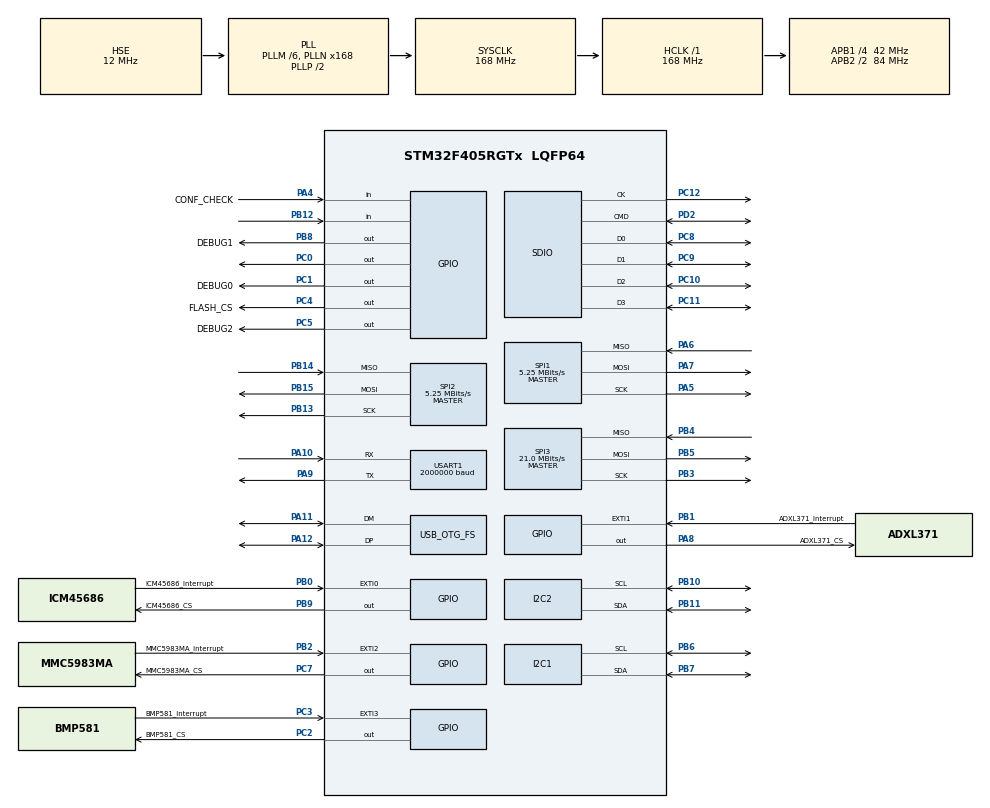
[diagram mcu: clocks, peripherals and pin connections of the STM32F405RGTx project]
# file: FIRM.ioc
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Dma.Request0=SDIO_RX
Dma.Request1=SDIO_TX
Dma.Request2=USART1_TX
Dma.SDIO_RX.0.Direction=DMA_PERIPH_TO_MEMORY
Dma.SDIO_RX.0.FIFOMode=DMA_FIFOMODE_ENABLE
Dma.SDIO_RX.0.FIFOThreshold=DMA_FIFO_THRESHOLD_FULL
Dma.SDIO_RX.0.Instance=DMA2_Stream3
Dma.SDIO_RX.0.MemBurst=DMA_MBURST_INC4
Dma.SDIO_RX.0.MemDataAlignment=DMA_MDATAALIGN_WORD
Dma.SDIO_RX.0.MemInc=DMA_MINC_ENABLE
Dma.SDIO_RX.0.Mode=DMA_PFCTRL
Dma.SDIO_RX.0.PeriphBurst=DMA_PBURST_INC4
Dma.SDIO_RX.0.PeriphDataAlignment=DMA_PDATAALIGN_WORD
Dma.SDIO_RX.0.PeriphInc=DMA_PINC_DISABLE
Dma.SDIO_RX.0.Priority=DMA_PRIORITY_LOW
Dma.SDIO_TX.1.Direction=DMA_MEMORY_TO_PERIPH
Dma.SDIO_TX.1.FIFOMode=DMA_FIFOMODE_ENABLE
Dma.SDIO_TX.1.FIFOThreshold=DMA_FIFO_THRESHOLD_FULL
Dma.SDIO_TX.1.Instance=DMA2_Stream6
Dma.SDIO_TX.1.MemBurst=DMA_MBURST_INC4
Dma.SDIO_TX.1.MemDataAlignment=DMA_MDATAALIGN_WORD
Dma.SDIO_TX.1.MemInc=DMA_MINC_ENABLE
Dma.SDIO_TX.1.Mode=DMA_PFCTRL
Dma.SDIO_TX.1.PeriphBurst=DMA_PBURST_INC4
Dma.SDIO_TX.1.PeriphDataAlignment=DMA_PDATAALIGN_WORD
Dma.SDIO_TX.1.PeriphInc=DMA_PINC_DISABLE
Dma.SDIO_TX.1.Priority=DMA_PRIORITY_LOW
Dma.USART1_TX.2.Direction=DMA_MEMORY_TO_PERIPH
Dma.USART1_TX.2.FIFOMode=DMA_FIFOMODE_DISABLE
Dma.USART1_TX.2.Instance=DMA2_Stream7
Dma.USART1_TX.2.MemDataAlignment=DMA_MDATAALIGN_BYTE
Dma.USART1_TX.2.MemInc=DMA_MINC_ENABLE
Dma.USART1_TX.2.Mode=DMA_NORMAL
Dma.USART1_TX.2.PeriphDataAlignment=DMA_PDATAALIGN_BYTE
Dma.USART1_TX.2.PeriphInc=DMA_PINC_DISABLE
Dma.USART1_TX.2.Priority=DMA_PRIORITY_LOW
FATFS.BSP.number=1
FATFS.USE_DMA_CODE_SD=1
FATFS._USE_EXPAND=1
FATFS._USE_FIND=1
FATFS0.BSP.STBoard=false
FATFS0.BSP.api=Unknown
FATFS0.BSP.instance=PB12
FATFS0.BSP.ip=GPIO
FATFS0.BSP.mode=Input
FATFS0.BSP.name=Detect_SDIO
FATFS0.BSP.solution=PB12
FREERTOS.Tasks01=defaultTask,49,512,StartDefaultTask,Default,NULL,Dynamic,NULL,NULL
FREERTOS.configCHECK_FOR_STACK_OVERFLOW=2
FREERTOS.configMINIMAL_STACK_SIZE=256
FREERTOS.configTOTAL_HEAP_SIZE=69632
I2C1.I2C_Mode=I2C_Fast
Mcu.Family=STM32F4
Mcu.Name=STM32F405RGTx
Mcu.Package=LQFP64
NVIC.DMA2_Stream3_IRQn=true\:5\:0\:false\:false\:true\:true\:false\:true\:true
NVIC.DMA2_Stream6_IRQn=true\:5\:0\:false\:false\:true\:true\:false\:true\:true
NVIC.DMA2_Stream7_IRQn=true\:5\:0\:false\:false\:true\:false\:true\:true\:true
NVIC.EXTI0_IRQn=true\:5\:0\:false\:false\:true\:true\:true\:true\:true
NVIC.EXTI1_IRQn=true\:5\:0\:false\:false\:true\:true\:true\:true\:true
NVIC.EXTI2_IRQn=true\:5\:0\:false\:false\:true\:true\:true\:true\:true
NVIC.EXTI3_IRQn=true\:5\:0\:false\:false\:true\:true\:true\:true\:true
NVIC.OTG_FS_IRQn=true\:5\:0\:false\:false\:true\:true\:false\:true\:true
NVIC.PriorityGroup=NVIC_PRIORITYGROUP_4
NVIC.SDIO_IRQn=true\:5\:0\:false\:false\:true\:true\:true\:true\:true
NVIC.SPI1_IRQn=true\:5\:0\:true\:false\:true\:true\:true\:true\:true
NVIC.SPI2_IRQn=true\:5\:0\:true\:false\:true\:true\:true\:true\:true
NVIC.TIM2_IRQn=true\:15\:0\:false\:false\:true\:false\:false\:true\:true
NVIC.TimeBase=TIM2_IRQn
NVIC.TimeBaseIP=TIM2
NVIC.USART1_IRQn=true\:5\:0\:false\:false\:true\:true\:true\:true\:true
PA10.Mode=Asynchronous
PA10.Signal=USART1_RX
PA11.Mode=Device_Only
PA11.Signal=USB_OTG_FS_DM
PA12.Mode=Device_Only
PA12.Signal=USB_OTG_FS_DP
PA13.Mode=Serial_Wire
PA13.Signal=SYS_JTMS-SWDIO
PA14.Mode=Serial_Wire
PA14.Signal=SYS_JTCK-SWCLK
PA4.GPIO_Label=CONF_CHECK
PA4.GPIO_PuPd=GPIO_PULLUP
PA4.Signal=GPIO_Input
PA5.GPIO_PuPd=GPIO_NOPULL
PA5.GPIO_Speed=GPIO_SPEED_FREQ_HIGH
PA5.Mode=Full_Duplex_Master
PA5.Signal=SPI1_SCK
PA6.GPIO_PuPd=GPIO_NOPULL
PA6.GPIO_Speed=GPIO_SPEED_FREQ_HIGH
PA6.Mode=Full_Duplex_Master
PA6.Signal=SPI1_MISO
PA7.GPIO_PuPd=GPIO_NOPULL
PA7.GPIO_Speed=GPIO_SPEED_FREQ_HIGH
PA7.Mode=Full_Duplex_Master
PA7.Signal=SPI1_MOSI
PA8.GPIO_Label=ADXL371_CS
PA8.Signal=GPIO_Output
PA9.Mode=Asynchronous
PA9.Signal=USART1_TX
PB0.GPIO_Label=ICM45686_Interrupt
PB0.GPIO_ModeDefaultEXTI=GPIO_MODE_IT_FALLING
PB0.Signal=GPXTI0
PB1.GPIO_Label=ADXL371_Interrupt
PB1.GPIO_ModeDefaultEXTI=GPIO_MODE_IT_FALLING
PB1.Signal=GPXTI1
PB10.Mode=I2C
PB10.Signal=I2C2_SCL
PB11.Mode=I2C
PB11.Signal=I2C2_SDA
PB12.Signal=GPIO_Input
PB13.GPIO_PuPd=GPIO_NOPULL
PB13.GPIO_Speed=GPIO_SPEED_FREQ_HIGH
PB13.Mode=Full_Duplex_Master
PB13.Signal=SPI2_SCK
PB14.GPIO_PuPd=GPIO_NOPULL
PB14.GPIO_Speed=GPIO_SPEED_FREQ_HIGH
PB14.Mode=Full_Duplex_Master
PB14.Signal=SPI2_MISO
PB15.GPIO_PuPd=GPIO_NOPULL
PB15.GPIO_Speed=GPIO_SPEED_FREQ_HIGH
PB15.Mode=Full_Duplex_Master
PB15.Signal=SPI2_MOSI
PB2.GPIO_Label=MMC5983MA_Interrupt
PB2.GPIO_ModeDefaultEXTI=GPIO_MODE_IT_RISING
PB2.GPIO_PuPd=GPIO_PULLDOWN
PB2.Signal=GPXTI2
PB3.Mode=Full_Duplex_Master
PB3.Signal=SPI3_SCK
PB4.Mode=Full_Duplex_Master
PB4.Signal=SPI3_MISO
PB5.Mode=Full_Duplex_Master
PB5.Signal=SPI3_MOSI
PB6.GPIO_Mode=GPIO_MODE_AF_OD
PB6.GPIO_Pu=GPIO_PULLUP
PB6.GPIO_Speed=GPIO_SPEED_FREQ_VERY_HIGH
PB6.Mode=I2C
PB6.Signal=I2C1_SCL
PB7.GPIO_Mode=GPIO_MODE_AF_OD
PB7.GPIO_Pu=GPIO_PULLUP
PB7.GPIO_Speed=GPIO_SPEED_FREQ_VERY_HIGH
PB7.Mode=I2C
PB7.Signal=I2C1_SDA
PB8.GPIO_Label=DEBUG1
PB8.Signal=GPIO_Output
PB9.GPIO_Label=ICM45686_CS
PB9.Signal=GPIO_Output
PC0.Signal=GPIO_Output
PC1.GPIO_Label=DEBUG0
PC1.Signal=GPIO_Output
PC10.GPIO_PuPd=GPIO_PULLUP
PC10.GPIO_Speed_High_Default=GPIO_SPEED_FREQ_HIGH
PC10.Mode=SD_4_bits_Wide_bus
PC10.Signal=SDIO_D2
PC11.GPIO_Speed_High_Default=GPIO_SPEED_FREQ_HIGH
PC11.Mode=SD_4_bits_Wide_bus
PC11.Signal=SDIO_D3
PC12.GPIO_Speed_High_Default=GPIO_SPEED_FREQ_HIGH
PC12.Mode=SD_4_bits_Wide_bus
PC12.Signal=SDIO_CK
PC2.GPIO_Label=BMP581_CS
PC2.GPIO_PuPd=GPIO_PULLUP
PC2.Signal=GPIO_Output
PC3.GPIO_Label=BMP581_Interrupt
PC3.GPIO_ModeDefaultEXTI=GPIO_MODE_IT_FALLING
PC3.GPIO_PuPd=GPIO_NOPULL
PC3.Signal=GPXTI3
PC4.GPIO_Label=FLASH_CS
PC4.Signal=GPIO_Output
PC5.GPIO_Label=DEBUG2
PC5.Signal=GPIO_Output
PC7.GPIO_Label=MMC5983MA_CS
PC7.GPIO_PuPd=GPIO_PULLUP
PC7.Signal=GPIO_Output
PC8.GPIO_PuPd=GPIO_PULLUP
PC8.GPIO_Speed_High_Default=GPIO_SPEED_FREQ_HIGH
PC8.Mode=SD_4_bits_Wide_bus
PC8.Signal=SDIO_D0
PC9.GPIO_PuPd=GPIO_PULLUP
PC9.GPIO_Speed_High_Default=GPIO_SPEED_FREQ_HIGH
PC9.Mode=SD_4_bits_Wide_bus
PC9.Signal=SDIO_D1
PD2.GPIO_PuPd=GPIO_PULLUP
PD2.GPIO_Speed_High_Default=GPIO_SPEED_FREQ_HIGH
PD2.Mode=SD_4_bits_Wide_bus
PD2.Signal=SDIO_CMD
PH0-OSC_IN.Mode=HSE-External-Oscillator
PH0-OSC_IN.Signal=RCC_OSC_IN
PH1-OSC_OUT.Mode=HSE-External-Oscillator
PH1-OSC_OUT.Signal=RCC_OSC_OUT
ProjectManager.HeapSize=0x400
ProjectManager.StackSize=0x800
ProjectManager.TargetToolchain=CMake
RCC.48MHZClocksFreq_Value=48000000
RCC.AHBFreq_Value=168000000
RCC.APB1CLKDivider=RCC_HCLK_DIV4
RCC.APB1Freq_Value=42000000
RCC.APB1TimFreq_Value=84000000
RCC.APB2CLKDivider=RCC_HCLK_DIV2
RCC.APB2Freq_Value=84000000
RCC.APB2TimFreq_Value=168000000
RCC.CortexFreq_Value=168000000
RCC.HCLKFreq_Value=168000000
RCC.HSE_VALUE=12000000
RCC.HSI_VALUE=16000000
RCC.LSE_VALUE=32768
RCC.PLLM=6
RCC.PLLN=168
RCC.PLLQ=7
RCC.SYSCLKFreq_VALUE=168000000
RCC.SYSCLKSource=RCC_SYSCLKSOURCE_PLLCLK
RCC.VCOOutputFreq_Value=336000000
SPI1.BaudRatePrescaler=SPI_BAUDRATEPRESCALER_16
SPI1.CalculateBaudRate=5.25 MBits/s
SPI1.Direction=SPI_DIRECTION_2LINES
SPI1.Mode=SPI_MODE_MASTER
SPI1.VirtualType=VM_MASTER
SPI2.BaudRatePrescaler=SPI_BAUDRATEPRESCALER_8
SPI2.CLKPolarity=SPI_POLARITY_LOW
SPI2.CalculateBaudRate=5.25 MBits/s
SPI2.Direction=SPI_DIRECTION_2LINES
SPI2.Mode=SPI_MODE_MASTER
SPI2.VirtualType=VM_MASTER
SPI3.CalculateBaudRate=21.0 MBits/s
SPI3.Direction=SPI_DIRECTION_2LINES
SPI3.Mode=SPI_MODE_MASTER
SPI3.VirtualType=VM_MASTER
USART1.BaudRate=2000000
USART1.VirtualMode=VM_ASYNC
USB_DEVICE.CLASS_NAME_FS=CDC
USB_DEVICE.MANUFACTURER_STRING-CDC_FS=NCSU High Powered Rocketry Club
USB_DEVICE.PRODUCT_STRING_CDC_FS=FIRM Device
USB_DEVICE.VirtualMode-CDC_FS=Cdc
USB_DEVICE.VirtualModeFS=Cdc_FS
USB_OTG_FS.VirtualMode=Device_Only
VP_FATFS_VS_SDIO.Mode=SDIO
VP_FREERTOS_VS_CMSIS_V2.Mode=CMSIS_V2
VP_SYS_VS_tim2.Mode=TIM2
VP_USB_DEVICE_VS_USB_DEVICE_CDC_FS.Mode=CDC_FS
board=custom

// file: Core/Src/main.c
/* USER CODE BEGIN Header */
/**
 ******************************************************************************
 * @file           : main.c
 * @brief          : Main program body
 ******************************************************************************
 * @attention
 *
 * Copyright (c) 2025 STMicroelectronics.
 * All rights reserved.
 *
 * This software is licensed under terms that can be found in the LICENSE file
 * in the root directory of this software component.
 * If no LICENSE file comes with this software, it is provided AS-IS.
 *
 ******************************************************************************
 */

/* USER CODE END Header */
#include "main.h"
#include "cmsis_os.h"
#include "fatfs.h"
#include "usb_device.h"

/* USER CODE BEGIN Includes */
#include "mode_indicator_task.h"
#include "sensor_task.h"
#include "filter_data_task.h"
#include "packetizer_task.h"
#include "transmit_task.h"
#include "usb_read_data_task.h"
#include "commands.h"
#include "transmit_frame.h"
#include "led.h"
#include "logger.h"
#include "packets.h"
#include "sensor_manager.h"
#include "settings_manager.h"
#include "system_settings.h"
#include "targets.h"
#include "firm_v1_0.h"

#include "FreeRTOS.h"
#include "event_groups.h"
#include "queue.h"
#include "stream_buffer.h"
#include "task.h"

#include <bmp581.h>
#include <icm45686.h>
#include <mmc5983ma.h>
#include <adxl371.h>

#include <stdbool.h>
#include <stddef.h>
#include <stdio.h>
#include <string.h>

/* USER CODE END Includes */

I2C_HandleTypeDef hi2c1;
I2C_HandleTypeDef hi2c2;

SD_HandleTypeDef hsd;
DMA_HandleTypeDef hdma_sdio_rx;
DMA_HandleTypeDef hdma_sdio_tx;

SPI_HandleTypeDef hspi1;
SPI_HandleTypeDef hspi2;
SPI_HandleTypeDef hspi3;

UART_HandleTypeDef huart1;
DMA_HandleTypeDef hdma_usart1_tx;

/* Definitions for defaultTask */
osThreadId_t defaultTaskHandle;
const osThreadAttr_t defaultTask_attributes = {
  .name = "defaultTask",
  .stack_size = 512 * 4,
  .priority = (osPriority_t) osPriorityRealtime1,
};
/* USER CODE BEGIN PV */

static DataPacket_t global_data_packet = {0};
static Calibration_t startup_calibration_buffer;

/* USER CODE END PV */

void SystemClock_Config(void);
static void MX_GPIO_Init(void);
static void MX_DMA_Init(void);
static void MX_I2C1_Init(void);
static void MX_I2C2_Init(void);
static void MX_SDIO_SD_Init(void);
static void MX_SPI2_Init(void);
static void MX_SPI3_Init(void);
static void MX_SPI1_Init(void);
static void MX_USART1_UART_Init(void);
void StartDefaultTask(void *argument);

/* USER CODE BEGIN PFP */

static void firm_rtos_init(void);
static void firm_app_init(void);
static void apply_stored_sensor_calibrations(void);
static void apply_changed_sensor_calibrations(void *ctx);

/* USER CODE END PFP */

/* USER CODE BEGIN 0 */

static void apply_stored_sensor_calibrations(void) {
  const uint8_t *settings_bytes = (const uint8_t *)get_settings();

  // SystemSettings_t is packed. Copy one calibration at a time into aligned static storage before
  // passing it to a driver. Keeping this buffer off the main stack avoids overflowing it during
  // nested hardware initialization.
  memcpy(&startup_calibration_buffer, settings_bytes + offsetof(SystemSettings_t, accel_cal),
         sizeof(startup_calibration_buffer));
  icm45686_set_accel_calibration(startup_calibration_buffer.offset,
                                 startup_calibration_buffer.scale_matrix);

  memcpy(&startup_calibration_buffer, settings_bytes + offsetof(SystemSettings_t, gyro_cal),
         sizeof(startup_calibration_buffer));
  icm45686_set_gyro_calibration(startup_calibration_buffer.offset,
                                startup_calibration_buffer.scale_matrix);

  memcpy(&startup_calibration_buffer, settings_bytes + offsetof(SystemSettings_t, mag_cal),
         sizeof(startup_calibration_buffer));
  mmc5983ma_set_calibration(startup_calibration_buffer.offset,
                            startup_calibration_buffer.scale_matrix);

  memcpy(&startup_calibration_buffer, settings_bytes + offsetof(SystemSettings_t, high_g_cal),
         sizeof(startup_calibration_buffer));
  adxl371_set_calibration(startup_calibration_buffer.offset,
                          startup_calibration_buffer.scale_matrix);
}

static void apply_changed_sensor_calibrations(void *ctx) {
  (void)ctx;
  // Runs on the USB read task while the sensor tasks are using the drivers; keep them from
  // reading a half-updated calibration.
  taskENTER_CRITICAL();
  apply_stored_sensor_calibrations();
  taskEXIT_CRITICAL();
}

// Application setup (settings, calibrations, logger layout). Runs after firm_init_hardware() and
// before any FreeRTOS call.
static void firm_app_init(void) {
  CoreDebug->DEMCR |= CoreDebug_DEMCR_TRCENA_Msk;
  DWT->CYCCNT = 0;
  DWT->CTRL |= DWT_CTRL_CYCCNTENA_Msk;

  if (settings_manager_init()) {
    led_set_status(FLASH_CHIP_FAIL);
    Error_Handler();
  }

  // Sensor drivers keep their active calibration in RAM, so load the values restored from flash.
  apply_stored_sensor_calibrations();
  commands_register_calibration_changed(apply_changed_sensor_calibrations, NULL);

  logger_set_sensor_info(sizeof(BMP581RawData_t), sizeof(ICM45686RawData_t),
                         sizeof(MMC5983MARawData_t), sizeof(ADXL371RawData_t));
}

static void firm_rtos_init(void) {
  usb_rx_stream =
      xStreamBufferCreate(USB_RX_STREAM_BUFFER_SIZE_BYTES, USB_RX_STREAM_TRIGGER_LEVEL_BYTES);
  transmit_queue = xQueueCreate(TRANSMIT_QUEUE_LENGTH, sizeof(TransmitFrame_t));
  sensor_event_group = xEventGroupCreate();
  sensor_collected_group = xEventGroupCreate();

  if (usb_rx_stream == NULL || transmit_queue == NULL || sensor_event_group == NULL ||
      sensor_collected_group == NULL) {
    Error_Handler();
  }
}

/* USER CODE END 0 */

int main(void)
{

  /* MCU Configuration--------------------------------------------------------*/

  /* Reset of all peripherals, Initializes the Flash interface and the Systick. */
  HAL_Init();

  /* Configure the system clock */
  SystemClock_Config();

  /* Initialize all configured peripherals */
  MX_GPIO_Init();
  MX_DMA_Init();
  MX_I2C1_Init();
  MX_I2C2_Init();
  MX_SDIO_SD_Init();
  MX_SPI2_Init();
  MX_SPI3_Init();
  MX_SPI1_Init();
  MX_USART1_UART_Init();
  MX_FATFS_Init();
  /* USER CODE BEGIN 2 */

  // MX_GPIO_Init enables these; keep them off until the drivers and log file are ready.
  HAL_NVIC_DisableIRQ(EXTI0_IRQn);
  HAL_NVIC_DisableIRQ(EXTI1_IRQn);
  HAL_NVIC_DisableIRQ(EXTI2_IRQn);
  HAL_NVIC_DisableIRQ(EXTI3_IRQn);

  if (firm_init_hardware())
    Error_Handler();

  firm_app_init();

  /* USER CODE END 2 */

  /* Init scheduler */
  osKernelInitialize();

  /* USER CODE BEGIN RTOS_QUEUES */
  // The first FreeRTOS call that allocates leaves interrupts masked until osKernelStart(), so no
  // HAL_Delay, HAL timeouts or interrupt/DMA-driven HAL calls from here on.
  firm_rtos_init();
  /* USER CODE END RTOS_QUEUES */

  /* Create the thread(s) */
  /* creation of defaultTask */
  defaultTaskHandle = osThreadNew(StartDefaultTask, NULL, &defaultTask_attributes);

  /* USER CODE BEGIN RTOS_THREADS */
  firm_mode_indicator_task_handle =
      osThreadNew(firm_mode_indicator_task, NULL, &modeIndicatorTask_attributes);
  sensor_task_handle = osThreadNew(sensor_task, &global_data_packet, &sensorTask_attributes);
  packetizer_task_handle = osThreadNew(packetizer_task, &global_data_packet, &packetizerTask_attributes);
  filter_data_task_handle = osThreadNew(filter_data_task, &global_data_packet, &filterDataTask_attributes);
  transmit_task_handle = osThreadNew(transmit_data, NULL, &transmitTask_attributes);
  usb_read_task_handle = osThreadNew(usb_read_data, NULL, &usbReadTask_attributes);

  if (firm_mode_indicator_task_handle == NULL || sensor_task_handle == NULL ||
      filter_data_task_handle == NULL || packetizer_task_handle == NULL ||
      transmit_task_handle == NULL || usb_read_task_handle == NULL) {
    Error_Handler();
  }
  /* USER CODE END RTOS_THREADS */

  /* Start scheduler */
  osKernelStart();

  /* We should never get here as control is now taken by the scheduler */

  /* Infinite loop */
  /* USER CODE BEGIN WHILE */
  Error_Handler();
  while (1) {
    /* USER CODE END WHILE */

  }
}

void SystemClock_Config(void)
{
  RCC_OscInitTypeDef RCC_OscInitStruct = {0};
  RCC_ClkInitTypeDef RCC_ClkInitStruct = {0};

  /** Configure the main internal regulator output voltage
  */
  __HAL_RCC_PWR_CLK_ENABLE();
  __HAL_PWR_VOLTAGESCALING_CONFIG(PWR_REGULATOR_VOLTAGE_SCALE1);

  /** Initializes the RCC Oscillators according to the specified parameters
  * in the RCC_OscInitTypeDef structure.
  */
  RCC_OscInitStruct.OscillatorType = RCC_OSCILLATORTYPE_HSE;
  RCC_OscInitStruct.HSEState = RCC_HSE_ON;
  RCC_OscInitStruct.PLL.PLLState = RCC_PLL_ON;
  RCC_OscInitStruct.PLL.PLLSource = RCC_PLLSOURCE_HSE;
  RCC_OscInitStruct.PLL.PLLM = 6;
  RCC_OscInitStruct.PLL.PLLN = 168;
  RCC_OscInitStruct.PLL.PLLP = RCC_PLLP_DIV2;
  RCC_OscInitStruct.PLL.PLLQ = 7;
  if (HAL_RCC_OscConfig(&RCC_OscInitStruct) != HAL_OK)
  {
    Error_Handler();
  }

  /** Initializes the CPU, AHB and APB buses clocks
  */
  RCC_ClkInitStruct.ClockType = RCC_CLOCKTYPE_HCLK|RCC_CLOCKTYPE_SYSCLK
                              |RCC_CLOCKTYPE_PCLK1|RCC_CLOCKTYPE_PCLK2;
  RCC_ClkInitStruct.SYSCLKSource = RCC_SYSCLKSOURCE_PLLCLK;
  RCC_ClkInitStruct.AHBCLKDivider = RCC_SYSCLK_DIV1;
  RCC_ClkInitStruct.APB1CLKDivider = RCC_HCLK_DIV4;
  RCC_ClkInitStruct.APB2CLKDivider = RCC_HCLK_DIV2;

  if (HAL_RCC_ClockConfig(&RCC_ClkInitStruct, FLASH_LATENCY_5) != HAL_OK)
  {
    Error_Handler();
  }
}

static void MX_I2C1_Init(void)
{

  hi2c1.Instance = I2C1;
  hi2c1.Init.ClockSpeed = 400000;
  hi2c1.Init.DutyCycle = I2C_DUTYCYCLE_2;
  hi2c1.Init.OwnAddress1 = 0;
  hi2c1.Init.AddressingMode = I2C_ADDRESSINGMODE_7BIT;
  hi2c1.Init.DualAddressMode = I2C_DUALADDRESS_DISABLE;
  hi2c1.Init.OwnAddress2 = 0;
  hi2c1.Init.GeneralCallMode = I2C_GENERALCALL_DISABLE;
  hi2c1.Init.NoStretchMode = I2C_NOSTRETCH_DISABLE;
  if (HAL_I2C_Init(&hi2c1) != HAL_OK)
  {
    Error_Handler();
  }

}

static void MX_I2C2_Init(void)
{

  hi2c2.Instance = I2C2;
  hi2c2.Init.ClockSpeed = 100000;
  hi2c2.Init.DutyCycle = I2C_DUTYCYCLE_2;
  hi2c2.Init.OwnAddress1 = 0;
  hi2c2.Init.AddressingMode = I2C_ADDRESSINGMODE_7BIT;
  hi2c2.Init.DualAddressMode = I2C_DUALADDRESS_DISABLE;
  hi2c2.Init.OwnAddress2 = 0;
  hi2c2.Init.GeneralCallMode = I2C_GENERALCALL_DISABLE;
  hi2c2.Init.NoStretchMode = I2C_NOSTRETCH_DISABLE;
  if (HAL_I2C_Init(&hi2c2) != HAL_OK)
  {
    Error_Handler();
  }

}

static void MX_SDIO_SD_Init(void)
{

  hsd.Instance = SDIO;
  hsd.Init.ClockEdge = SDIO_CLOCK_EDGE_RISING;
  hsd.Init.ClockBypass = SDIO_CLOCK_BYPASS_DISABLE;
  hsd.Init.ClockPowerSave = SDIO_CLOCK_POWER_SAVE_DISABLE;
  hsd.Init.BusWide = SDIO_BUS_WIDE_1B;
  hsd.Init.HardwareFlowControl = SDIO_HARDWARE_FLOW_CONTROL_DISABLE;
  hsd.Init.ClockDiv = 0;

}

static void MX_SPI1_Init(void)
{

  /* SPI1 parameter configuration*/
  hspi1.Instance = SPI1;
  hspi1.Init.Mode = SPI_MODE_MASTER;
  hspi1.Init.Direction = SPI_DIRECTION_2LINES;
  hspi1.Init.DataSize = SPI_DATASIZE_8BIT;
  hspi1.Init.CLKPolarity = SPI_POLARITY_LOW;
  hspi1.Init.CLKPhase = SPI_PHASE_1EDGE;
  hspi1.Init.NSS = SPI_NSS_SOFT;
  hspi1.Init.BaudRatePrescaler = SPI_BAUDRATEPRESCALER_16;
  hspi1.Init.FirstBit = SPI_FIRSTBIT_MSB;
  hspi1.Init.TIMode = SPI_TIMODE_DISABLE;
  hspi1.Init.CRCCalculation = SPI_CRCCALCULATION_DISABLE;
  hspi1.Init.CRCPolynomial = 10;
  if (HAL_SPI_Init(&hspi1) != HAL_OK)
  {
    Error_Handler();
  }

}

static void MX_SPI2_Init(void)
{

  /* SPI2 parameter configuration*/
  hspi2.Instance = SPI2;
  hspi2.Init.Mode = SPI_MODE_MASTER;
  hspi2.Init.Direction = SPI_DIRECTION_2LINES;
  hspi2.Init.DataSize = SPI_DATASIZE_8BIT;
  hspi2.Init.CLKPolarity = SPI_POLARITY_LOW;
  hspi2.Init.CLKPhase = SPI_PHASE_1EDGE;
  hspi2.Init.NSS = SPI_NSS_SOFT;
  hspi2.Init.BaudRatePrescaler = SPI_BAUDRATEPRESCALER_8;
  hspi2.Init.FirstBit = SPI_FIRSTBIT_MSB;
  hspi2.Init.TIMode = SPI_TIMODE_DISABLE;
  hspi2.Init.CRCCalculation = SPI_CRCCALCULATION_DISABLE;
  hspi2.Init.CRCPolynomial = 10;
  if (HAL_SPI_Init(&hspi2) != HAL_OK)
  {
    Error_Handler();
  }

}

static void MX_SPI3_Init(void)
{

  /* SPI3 parameter configuration*/
  hspi3.Instance = SPI3;
  hspi3.Init.Mode = SPI_MODE_MASTER;
  hspi3.Init.Direction = SPI_DIRECTION_2LINES;
  hspi3.Init.DataSize = SPI_DATASIZE_8BIT;
  hspi3.Init.CLKPolarity = SPI_POLARITY_LOW;
  hspi3.Init.CLKPhase = SPI_PHASE_1EDGE;
  hspi3.Init.NSS = SPI_NSS_SOFT;
  hspi3.Init.BaudRatePrescaler = SPI_BAUDRATEPRESCALER_2;
  hspi3.Init.FirstBit = SPI_FIRSTBIT_MSB;
  hspi3.Init.TIMode = SPI_TIMODE_DISABLE;
  hspi3.Init.CRCCalculation = SPI_CRCCALCULATION_DISABLE;
  hspi3.Init.CRCPolynomial = 10;
  if (HAL_SPI_Init(&hspi3) != HAL_OK)
  {
    Error_Handler();
  }

}

static void MX_USART1_UART_Init(void)
{

  huart1.Instance = USART1;
  huart1.Init.BaudRate = 2000000;
  huart1.Init.WordLength = UART_WORDLENGTH_8B;
  huart1.Init.StopBits = UART_STOPBITS_1;
  huart1.Init.Parity = UART_PARITY_NONE;
  huart1.Init.Mode = UART_MODE_TX_RX;
  huart1.Init.HwFlowCtl = UART_HWCONTROL_NONE;
  huart1.Init.OverSampling = UART_OVERSAMPLING_16;
  if (HAL_UART_Init(&huart1) != HAL_OK)
  {
    Error_Handler();
  }

}

static void MX_DMA_Init(void)
{

  /* DMA controller clock enable */
  __HAL_RCC_DMA2_CLK_ENABLE();

  /* DMA interrupt init */
  /* DMA2_Stream3_IRQn interrupt configuration */
  HAL_NVIC_SetPriority(DMA2_Stream3_IRQn, 5, 0);
  HAL_NVIC_EnableIRQ(DMA2_Stream3_IRQn);
  /* DMA2_Stream6_IRQn interrupt configuration */
  HAL_NVIC_SetPriority(DMA2_Stream6_IRQn, 5, 0);
  HAL_NVIC_EnableIRQ(DMA2_Stream6_IRQn);
  /* DMA2_Stream7_IRQn interrupt configuration */
  HAL_NVIC_SetPriority(DMA2_Stream7_IRQn, 5, 0);
  HAL_NVIC_EnableIRQ(DMA2_Stream7_IRQn);

}

static void MX_GPIO_Init(void)
{
  GPIO_InitTypeDef GPIO_InitStruct = {0};

  /* GPIO Ports Clock Enable */
  __HAL_RCC_GPIOH_CLK_ENABLE();
  __HAL_RCC_GPIOC_CLK_ENABLE();
  __HAL_RCC_GPIOA_CLK_ENABLE();
  __HAL_RCC_GPIOB_CLK_ENABLE();
  __HAL_RCC_GPIOD_CLK_ENABLE();

  /*Configure GPIO pin Output Level */
  HAL_GPIO_WritePin(GPIOC, GPIO_PIN_0|DEBUG0_Pin|BMP581_CS_Pin|FLASH_CS_Pin
                          |DEBUG2_Pin|MMC5983MA_CS_Pin, GPIO_PIN_RESET);

  /*Configure GPIO pin Output Level */
  HAL_GPIO_WritePin(ADXL371_CS_GPIO_Port, ADXL371_CS_Pin, GPIO_PIN_RESET);

  /*Configure GPIO pin Output Level */
  HAL_GPIO_WritePin(GPIOB, DEBUG1_Pin|ICM45686_CS_Pin, GPIO_PIN_RESET);

  /*Configure GPIO pins : PC0 DEBUG0_Pin FLASH_CS_Pin DEBUG2_Pin */
  GPIO_InitStruct.Pin = GPIO_PIN_0|DEBUG0_Pin|FLASH_CS_Pin|DEBUG2_Pin;
  GPIO_InitStruct.Mode = GPIO_MODE_OUTPUT_PP;
  GPIO_InitStruct.Pull = GPIO_NOPULL;
  GPIO_InitStruct.Speed = GPIO_SPEED_FREQ_LOW;
  HAL_GPIO_Init(GPIOC, &GPIO_InitStruct);

  /*Configure GPIO pins : BMP581_CS_Pin MMC5983MA_CS_Pin */
  GPIO_InitStruct.Pin = BMP581_CS_Pin|MMC5983MA_CS_Pin;
  GPIO_InitStruct.Mode = GPIO_MODE_OUTPUT_PP;
  GPIO_InitStruct.Pull = GPIO_PULLUP;
  GPIO_InitStruct.Speed = GPIO_SPEED_FREQ_LOW;
  HAL_GPIO_Init(GPIOC, &GPIO_InitStruct);

  /*Configure GPIO pin : BMP581_Interrupt_Pin */
  GPIO_InitStruct.Pin = BMP581_Interrupt_Pin;
  GPIO_InitStruct.Mode = GPIO_MODE_IT_FALLING;
  GPIO_InitStruct.Pull = GPIO_NOPULL;
  HAL_GPIO_Init(BMP581_Interrupt_GPIO_Port, &GPIO_InitStruct);

  /*Configure GPIO pin : CONF_CHECK_Pin */
  GPIO_InitStruct.Pin = CONF_CHECK_Pin;
  GPIO_InitStruct.Mode = GPIO_MODE_INPUT;
  GPIO_InitStruct.Pull = GPIO_PULLUP;
  HAL_GPIO_Init(CONF_CHECK_GPIO_Port, &GPIO_InitStruct);

  /*Configure GPIO pins : ICM45686_Interrupt_Pin ADXL371_Interrupt_Pin */
  GPIO_InitStruct.Pin = ICM45686_Interrupt_Pin|ADXL371_Interrupt_Pin;
  GPIO_InitStruct.Mode = GPIO_MODE_IT_FALLING;
  GPIO_InitStruct.Pull = GPIO_NOPULL;
  HAL_GPIO_Init(GPIOB, &GPIO_InitStruct);

  /*Configure GPIO pin : MMC5983MA_Interrupt_Pin */
  GPIO_InitStruct.Pin = MMC5983MA_Interrupt_Pin;
  GPIO_InitStruct.Mode = GPIO_MODE_IT_RISING;
  GPIO_InitStruct.Pull = GPIO_PULLDOWN;
  HAL_GPIO_Init(MMC5983MA_Interrupt_GPIO_Port, &GPIO_InitStruct);

  /*Configure GPIO pin : PB12 */
  GPIO_InitStruct.Pin = GPIO_PIN_12;
  GPIO_InitStruct.Mode = GPIO_MODE_INPUT;
  GPIO_InitStruct.Pull = GPIO_NOPULL;
  HAL_GPIO_Init(GPIOB, &GPIO_InitStruct);

  /*Configure GPIO pin : ADXL371_CS_Pin */
  GPIO_InitStruct.Pin = ADXL371_CS_Pin;
  GPIO_InitStruct.Mode = GPIO_MODE_OUTPUT_PP;
  GPIO_InitStruct.Pull = GPIO_NOPULL;
  GPIO_InitStruct.Speed = GPIO_SPEED_FREQ_LOW;
  HAL_GPIO_Init(ADXL371_CS_GPIO_Port, &GPIO_InitStruct);

  /*Configure GPIO pins : DEBUG1_Pin ICM45686_CS_Pin */
  GPIO_InitStruct.Pin = DEBUG1_Pin|ICM45686_CS_Pin;
  GPIO_InitStruct.Mode = GPIO_MODE_OUTPUT_PP;
  GPIO_InitStruct.Pull = GPIO_NOPULL;
  GPIO_InitStruct.Speed = GPIO_SPEED_FREQ_LOW;
  HAL_GPIO_Init(GPIOB, &GPIO_InitStruct);

  /* EXTI interrupt init*/
  HAL_NVIC_SetPriority(EXTI0_IRQn, 5, 0);
  HAL_NVIC_EnableIRQ(EXTI0_IRQn);

  HAL_NVIC_SetPriority(EXTI1_IRQn, 5, 0);
  HAL_NVIC_EnableIRQ(EXTI1_IRQn);

  HAL_NVIC_SetPriority(EXTI2_IRQn, 5, 0);
  HAL_NVIC_EnableIRQ(EXTI2_IRQn);

  HAL_NVIC_SetPriority(EXTI3_IRQn, 5, 0);
  HAL_NVIC_EnableIRQ(EXTI3_IRQn);

}

/* USER CODE BEGIN 4 */

/**
 * @brief ISR for interrupt pins
 * @note all ISR signals use this function, must check which pin before setting data ready flags
 * @param GPIO_Pin the EXTI pin that triggered the interrupt signal
 * @retval None
 */
void HAL_GPIO_EXTI_Callback(uint16_t GPIO_Pin) {
  BaseType_t xHigherPriorityTaskWoken = pdFALSE;

  if (sensor_event_group == NULL) {
    return;
  }

  if (GPIO_Pin == BMP581_Interrupt_Pin) {
    (void)xEventGroupSetBitsFromISR(sensor_event_group, SENSOR_EVENT_BAROMETER_READY,
                                    &xHigherPriorityTaskWoken);
  }
  if (GPIO_Pin == ICM45686_Interrupt_Pin) {
    (void)xEventGroupSetBitsFromISR(sensor_event_group, SENSOR_EVENT_IMU_READY,
                                    &xHigherPriorityTaskWoken);
  }
  if (GPIO_Pin == MMC5983MA_Interrupt_Pin) {
    (void)xEventGroupSetBitsFromISR(sensor_event_group, SENSOR_EVENT_MAGNETOMETER_READY,
                                    &xHigherPriorityTaskWoken);
  }
  if (GPIO_Pin == ADXL371_Interrupt_Pin) {
    (void)xEventGroupSetBitsFromISR(sensor_event_group, SENSOR_EVENT_HIGH_G_READY,
                                    &xHigherPriorityTaskWoken);
  }
  portYIELD_FROM_ISR(xHigherPriorityTaskWoken);
}
/* USER CODE END 4 */

void StartDefaultTask(void *argument)
{
  /* init code for USB_DEVICE */
  MX_USB_DEVICE_Init();
  /* USER CODE BEGIN 5 */

  if (firm_init_log_storage()) {
    Error_Handler();
  }
  if (create_log()) {
    led_set_status(SD_FAIL);
    Error_Handler();
  }
  if (logger_write_header(*get_settings())) {
    led_set_status(SD_FAIL);
    Error_Handler();
  }

  HAL_NVIC_EnableIRQ(EXTI0_IRQn);
  HAL_NVIC_EnableIRQ(EXTI1_IRQn);
  HAL_NVIC_EnableIRQ(EXTI2_IRQn);
  HAL_NVIC_EnableIRQ(EXTI3_IRQn);

  vTaskDelete(NULL);
  /* USER CODE END 5 */
}

void HAL_TIM_PeriodElapsedCallback(TIM_HandleTypeDef *htim)
{
  if (htim->Instance == TIM2)
  {
    HAL_IncTick();
  }
}

void Error_Handler(void)
{
  __disable_irq();
  while (1) {
  }
}

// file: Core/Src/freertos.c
/* USER CODE BEGIN Header */
/**
 ******************************************************************************
 * File Name          : freertos.c
 * Description        : Code for freertos applications
 ******************************************************************************
 * @attention
 *
 * Copyright (c) 2025 STMicroelectronics.
 * All rights reserved.
 *
 * This software is licensed under terms that can be found in the LICENSE file
 * in the root directory of this software component.
 * If no LICENSE file comes with this software, it is provided AS-IS.
 *
 ******************************************************************************
 */
/* USER CODE END Header */

#include "FreeRTOS.h"
#include "task.h"
#include "main.h"

/* USER CODE BEGIN Includes */

#include "fault_recovery.h"
#include "led.h"

/* USER CODE END Includes */

/* USER CODE BEGIN Variables */

/* Lives in .noinit (see the linker script) so it survives the reset the hook below triggers. A
   debugger can read it by name to see which task overflowed last. */
FaultRecord_t g_fault_record __attribute__((section(".noinit")));

/* USER CODE END Variables */

/* Hook prototypes */
void vApplicationStackOverflowHook(xTaskHandle xTask, signed char *pcTaskName);

/* USER CODE BEGIN 4 */
void vApplicationStackOverflowHook(xTaskHandle xTask, signed char *pcTaskName) {
  /* Run time stack overflow checking is performed if
  configCHECK_FOR_STACK_OVERFLOW is defined to 1 or 2. This hook function is
  called if a stack overflow is detected. */
  /* The overflowing task has already corrupted memory past its stack, so don't carry on. Reset to
     recover, unless a debugger is attached or the overflow keeps recurring right after boot. This
     runs inside the context switch on the main stack and never returns. */
  __disable_irq();

  bool debugger_attached = (CoreDebug->DHCSR & CoreDebug_DHCSR_C_DEBUGEN_Msk) != 0U;
  FaultAction_t action = fault_recovery_on_stack_overflow(
      &g_fault_record, (const char *)pcTaskName, HAL_GetTick(), debugger_attached);

  if (action == FAULT_ACTION_RESET) {
    HAL_NVIC_SystemReset();
  }

  led_set_status(STACK_OVERFLOW_FAIL);
  if (debugger_attached) {
    __BKPT(0); /* stop right at the overflow so the debugger shows the call stack */
  }
  for (;;) {
  }
}
/* USER CODE END 4 */
